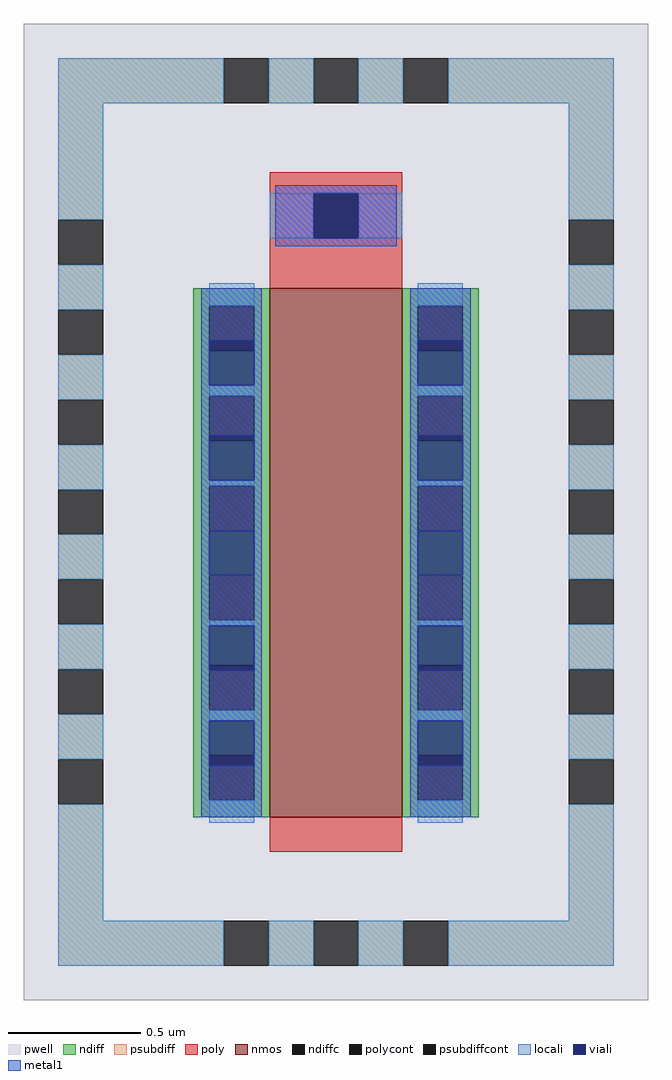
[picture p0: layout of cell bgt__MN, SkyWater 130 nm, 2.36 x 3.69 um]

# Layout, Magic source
magic
tech sky130A
magscale 1 2
<< pwell >>
rect -236 -369 236 369
<< nmos >>
rect -50 -231 50 169
<< ndiff >>
rect -108 156 -50 169
rect -108 122 -96 156
rect -62 122 -50 156
rect -108 88 -50 122
rect -108 54 -96 88
rect -62 54 -50 88
rect -108 20 -50 54
rect -108 -14 -96 20
rect -62 -14 -50 20
rect -108 -48 -50 -14
rect -108 -82 -96 -48
rect -62 -82 -50 -48
rect -108 -116 -50 -82
rect -108 -150 -96 -116
rect -62 -150 -50 -116
rect -108 -184 -50 -150
rect -108 -218 -96 -184
rect -62 -218 -50 -184
rect -108 -231 -50 -218
rect 50 156 108 169
rect 50 122 62 156
rect 96 122 108 156
rect 50 88 108 122
rect 50 54 62 88
rect 96 54 108 88
rect 50 20 108 54
rect 50 -14 62 20
rect 96 -14 108 20
rect 50 -48 108 -14
rect 50 -82 62 -48
rect 96 -82 108 -48
rect 50 -116 108 -82
rect 50 -150 62 -116
rect 96 -150 108 -116
rect 50 -184 108 -150
rect 50 -218 62 -184
rect 96 -218 108 -184
rect 50 -231 108 -218
<< ndiffc >>
rect -96 122 -62 156
rect -96 54 -62 88
rect -96 -14 -62 20
rect -96 -82 -62 -48
rect -96 -150 -62 -116
rect -96 -218 -62 -184
rect 62 122 96 156
rect 62 54 96 88
rect 62 -14 96 20
rect 62 -82 96 -48
rect 62 -150 96 -116
rect 62 -218 96 -184
<< psubdiff >>
rect -210 309 -85 343
rect -51 309 -17 343
rect 17 309 51 343
rect 85 309 210 343
rect -210 221 -176 309
rect -210 153 -176 187
rect 176 221 210 309
rect -210 85 -176 119
rect -210 17 -176 51
rect -210 -51 -176 -17
rect -210 -119 -176 -85
rect -210 -187 -176 -153
rect -210 -309 -176 -221
rect 176 153 210 187
rect 176 85 210 119
rect 176 17 210 51
rect 176 -51 210 -17
rect 176 -119 210 -85
rect 176 -187 210 -153
rect 176 -309 210 -221
rect -210 -343 -85 -309
rect -51 -343 -17 -309
rect 17 -343 51 -309
rect 85 -343 210 -309
<< psubdiffcont >>
rect -85 309 -51 343
rect -17 309 17 343
rect 51 309 85 343
rect -210 187 -176 221
rect 176 187 210 221
rect -210 119 -176 153
rect -210 51 -176 85
rect -210 -17 -176 17
rect -210 -85 -176 -51
rect -210 -153 -176 -119
rect -210 -221 -176 -187
rect 176 119 210 153
rect 176 51 210 85
rect 176 -17 210 17
rect 176 -85 210 -51
rect 176 -153 210 -119
rect 176 -221 210 -187
rect -85 -343 -51 -309
rect -17 -343 17 -309
rect 51 -343 85 -309
<< poly >>
rect -50 241 50 257
rect -50 207 -17 241
rect 17 207 50 241
rect -50 169 50 207
rect -50 -257 50 -231
<< polycont >>
rect -17 207 17 241
<< locali >>
rect -210 309 -85 343
rect -51 309 -17 343
rect 17 309 51 343
rect 85 309 210 343
rect -210 221 -176 309
rect -50 207 -17 241
rect 17 207 50 241
rect 176 221 210 309
rect -210 153 -176 187
rect -210 85 -176 119
rect -210 17 -176 51
rect -210 -51 -176 -17
rect -210 -119 -176 -85
rect -210 -187 -176 -153
rect -210 -309 -176 -221
rect -96 156 -62 173
rect -96 88 -62 96
rect -96 20 -62 24
rect -96 -86 -62 -82
rect -96 -158 -62 -150
rect -96 -235 -62 -218
rect 62 156 96 173
rect 62 88 96 96
rect 62 20 96 24
rect 62 -86 96 -82
rect 62 -158 96 -150
rect 62 -235 96 -218
rect 176 153 210 187
rect 176 85 210 119
rect 176 17 210 51
rect 176 -51 210 -17
rect 176 -119 210 -85
rect 176 -187 210 -153
rect 176 -309 210 -221
rect -210 -343 -85 -309
rect -51 -343 -17 -309
rect 17 -343 51 -309
rect 85 -343 210 -309
<< viali >>
rect -17 207 17 241
rect -96 122 -62 130
rect -96 96 -62 122
rect -96 54 -62 58
rect -96 24 -62 54
rect -96 -48 -62 -14
rect -96 -116 -62 -86
rect -96 -120 -62 -116
rect -96 -184 -62 -158
rect -96 -192 -62 -184
rect 62 122 96 130
rect 62 96 96 122
rect 62 54 96 58
rect 62 24 96 54
rect 62 -48 96 -14
rect 62 -116 96 -86
rect 62 -120 96 -116
rect 62 -184 96 -158
rect 62 -192 96 -184
<< metal1 >>
rect -46 241 46 247
rect -46 207 -17 241
rect 17 207 46 241
rect -46 201 46 207
rect -102 130 -56 169
rect -102 96 -96 130
rect -62 96 -56 130
rect -102 58 -56 96
rect -102 24 -96 58
rect -62 24 -56 58
rect -102 -14 -56 24
rect -102 -48 -96 -14
rect -62 -48 -56 -14
rect -102 -86 -56 -48
rect -102 -120 -96 -86
rect -62 -120 -56 -86
rect -102 -158 -56 -120
rect -102 -192 -96 -158
rect -62 -192 -56 -158
rect -102 -231 -56 -192
rect 56 130 102 169
rect 56 96 62 130
rect 96 96 102 130
rect 56 58 102 96
rect 56 24 62 58
rect 96 24 102 58
rect 56 -14 102 24
rect 56 -48 62 -14
rect 96 -48 102 -14
rect 56 -86 102 -48
rect 56 -120 62 -86
rect 96 -120 102 -86
rect 56 -158 102 -120
rect 56 -192 62 -158
rect 96 -192 102 -158
rect 56 -231 102 -192
<< properties >>
string FIXED_BBOX -193 -326 193 326
<< end >>
